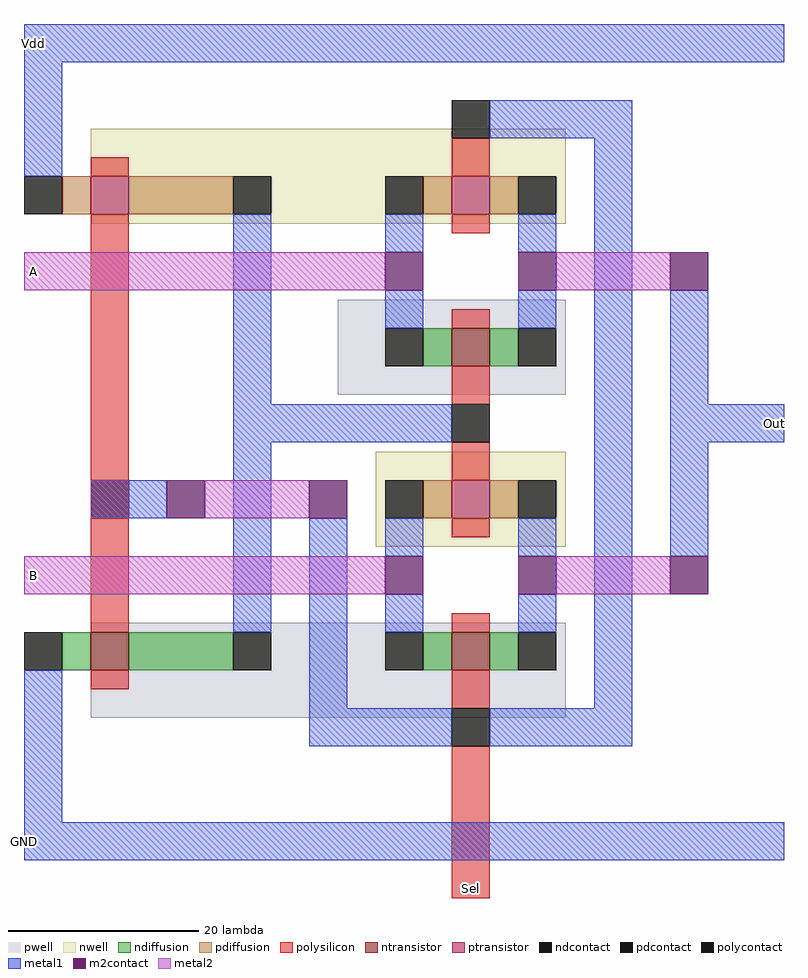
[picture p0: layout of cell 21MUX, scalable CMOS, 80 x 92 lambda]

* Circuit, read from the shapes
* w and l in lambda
.subckt 21MUX A B GND Out Sel Vdd
M1 n1 Sel GND VSUBS nfet w=4 l=4
M2 Out Sel B VSUBS nfet w=4 l=4
M3 Out n1 A VSUBS nfet w=4 l=4
M4 n1 Sel Vdd n2 pfet w=4 l=4
M5 Out n1 B n3 pfet w=4 l=4
M6 Out Sel A n2 pfet w=4 l=4
.ends

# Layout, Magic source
magic
tech scmos
<< pwell >>
rect 16 -15 40 -5
rect -10 -49 40 -39
<< nwell >>
rect -10 3 40 13
rect 20 -31 40 -21
<< polysilicon >>
rect -10 8 -6 10
rect 28 8 32 12
rect -10 -24 -6 4
rect 28 2 32 4
rect 28 -8 32 -6
rect 28 -16 32 -12
rect 28 -24 32 -20
rect -10 -40 -6 -28
rect 28 -30 32 -28
rect 28 -40 32 -38
rect -10 -46 -6 -44
rect 28 -48 32 -44
rect 28 -68 32 -52
<< ndiffusion >>
rect 25 -12 28 -8
rect 32 -12 35 -8
rect -13 -44 -10 -40
rect -6 -44 5 -40
rect 25 -44 28 -40
rect 32 -44 35 -40
<< pdiffusion >>
rect -13 4 -10 8
rect -6 4 5 8
rect 25 4 28 8
rect 32 4 35 8
rect 25 -28 28 -24
rect 32 -28 35 -24
<< metal1 >>
rect -17 20 63 24
rect -17 8 -13 20
rect 32 12 47 16
rect 5 -16 9 4
rect 21 0 25 4
rect 21 -8 25 -4
rect 35 0 39 4
rect 35 -8 39 -4
rect 5 -20 28 -16
rect -6 -28 -2 -24
rect 5 -40 9 -20
rect -17 -60 -13 -44
rect 13 -48 17 -28
rect 21 -32 25 -28
rect 21 -40 25 -36
rect 35 -32 39 -28
rect 35 -40 39 -36
rect 43 -48 47 12
rect 51 -16 55 -4
rect 51 -20 63 -16
rect 51 -32 55 -20
rect 13 -52 28 -48
rect 32 -52 47 -48
rect -17 -64 63 -60
<< metal2 >>
rect -17 -4 21 0
rect 39 -4 51 0
rect -10 -28 -6 -24
rect 2 -28 13 -24
rect -17 -36 21 -32
rect 39 -36 51 -32
<< ntransistor >>
rect 28 -12 32 -8
rect -10 -44 -6 -40
rect 28 -44 32 -40
<< ptransistor >>
rect -10 4 -6 8
rect 28 4 32 8
rect 28 -28 32 -24
<< polycontact >>
rect 28 12 32 16
rect 28 -20 32 -16
rect -10 -28 -6 -24
rect 28 -52 32 -48
<< ndcontact >>
rect 21 -12 25 -8
rect 35 -12 39 -8
rect -17 -44 -13 -40
rect 5 -44 9 -40
rect 21 -44 25 -40
rect 35 -44 39 -40
<< pdcontact >>
rect -17 4 -13 8
rect 5 4 9 8
rect 21 4 25 8
rect 35 4 39 8
rect 21 -28 25 -24
rect 35 -28 39 -24
<< m2contact >>
rect 21 -4 25 0
rect 35 -4 39 0
rect -2 -28 2 -24
rect 13 -28 17 -24
rect 21 -36 25 -32
rect 35 -36 39 -32
rect 51 -4 55 0
rect 51 -36 55 -32
<< labels >>
rlabel polysilicon 30 -67 30 -67 1 Sel
rlabel metal1 62 -18 62 -18 7 Out
rlabel metal1 -16 22 -16 22 3 Vdd
rlabel metal2 -16 -2 -16 -2 3 A
rlabel metal2 -16 -34 -16 -34 3 B
rlabel metal1 -17 -62 -17 -62 3 GND
<< end >>
